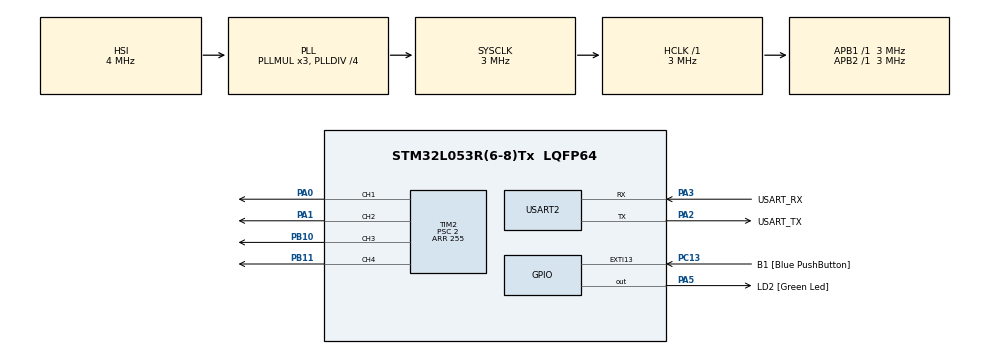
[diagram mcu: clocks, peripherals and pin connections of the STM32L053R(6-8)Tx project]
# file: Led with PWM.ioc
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Mcu.Family=STM32L0
Mcu.Name=STM32L053R(6-8)Tx
Mcu.Package=LQFP64
PA0.Signal=S_TIM2_CH1
PA1.Signal=S_TIM2_CH2
PA13.GPIO_Label=TMS
PA13.Mode=Serial_Wire
PA13.Signal=SYS_SWDIO
PA14.GPIO_Label=TCK
PA14.Mode=Serial_Wire
PA14.Signal=SYS_SWCLK
PA2.GPIO_Label=USART_TX
PA2.Mode=Asynchronous
PA2.Signal=USART2_TX
PA3.GPIO_Label=USART_RX
PA3.Mode=Asynchronous
PA3.Signal=USART2_RX
PA5.GPIO_Label=LD2 [Green Led]
PA5.Signal=GPIO_Output
PB10.Signal=S_TIM2_CH3
PB11.Signal=S_TIM2_CH4
PC13.GPIO_Label=B1 [Blue PushButton]
PC13.GPIO_ModeDefaultEXTI=GPIO_MODE_IT_FALLING
PC13.Signal=GPXTI13
PC14-OSC32_IN.Mode=LSE-External-Oscillator
PC14-OSC32_IN.Signal=RCC_OSC32_IN
PC15-OSC32_OUT.Mode=LSE-External-Oscillator
PC15-OSC32_OUT.Signal=RCC_OSC32_OUT
PH0-OSC_IN.Mode=HSE-External-Clock-Source
PH0-OSC_IN.Signal=RCC_OSC_IN
PH1-OSC_OUT.Signal=RCC_OSC_OUT
ProjectManager.HeapSize=0x200
ProjectManager.StackSize=0x400
ProjectManager.TargetToolchain=MDK-ARM V5.27
RCC.ADCFreq_Value=4000000
RCC.AHBFreq_Value=3000000
RCC.APB1Freq_Value=3000000
RCC.APB1TimFreq_Value=3000000
RCC.APB2Freq_Value=3000000
RCC.APB2TimFreq_Value=3000000
RCC.HCLKFreq_Value=3000000
RCC.HSE_VALUE=8000000
RCC.HSI16_VALUE=16000000
RCC.HSI48_VALUE=48000000
RCC.HSIRCDiv=4
RCC.HSI_VALUE=4000000
RCC.MSI_VALUE=2097000
RCC.PLLDIV=RCC_PLLDIV_4
RCC.SYSCLKFreq_VALUE=3000000
RCC.SYSCLKSource=RCC_SYSCLKSOURCE_PLLCLK
RCC.VCOOutputFreq_Value=12000000
SH.S_TIM2_CH1.0=TIM2_CH1,PWM Generation1 CH1
SH.S_TIM2_CH2.0=TIM2_CH2,PWM Generation2 CH2
SH.S_TIM2_CH3.0=TIM2_CH3,PWM Generation3 CH3
SH.S_TIM2_CH4.0=TIM2_CH4,PWM Generation4 CH4
TIM2.AutoReloadPreload=TIM_AUTORELOAD_PRELOAD_ENABLE
TIM2.Channel-PWM\ Generation1\ CH1=TIM_CHANNEL_1
TIM2.Channel-PWM\ Generation2\ CH2=TIM_CHANNEL_2
TIM2.Channel-PWM\ Generation3\ CH3=TIM_CHANNEL_3
TIM2.Channel-PWM\ Generation4\ CH4=TIM_CHANNEL_4
TIM2.CounterMode=TIM_COUNTERMODE_UP
TIM2.OCMode_PWM-PWM\ Generation1\ CH1=TIM_OCMODE_PWM1
TIM2.OCPolarity_1=TIM_OCPOLARITY_HIGH
TIM2.Period=255
TIM2.Prescaler=2
TIM2.Pulse-PWM\ Generation1\ CH1=19
USART2.VirtualMode-Asynchronous=VM_ASYNC
VP_TIM2_VS_ClockSourceINT.Mode=Internal
board=NUCLEO-L053R8

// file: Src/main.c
/* USER CODE BEGIN Header */
/**
  ******************************************************************************
  * @file           : main.c
  * @brief          : Main program body
  ******************************************************************************
  * @attention
  *
  * <h2><center>&copy; Copyright (c) 2021 STMicroelectronics.
  * All rights reserved.</center></h2>
  *
  * This software component is licensed by ST under BSD 3-Clause license,
  * the "License"; You may not use this file except in compliance with the
  * License. You may obtain a copy of the License at:
  *                        opensource.org/licenses/BSD-3-Clause
  *
  ******************************************************************************
  */
/* USER CODE END Header */

#include "main.h"
#include "tim.h"
#include "usart.h"
#include "gpio.h"

/* USER CODE BEGIN PD */
#define IR 0
#define DR 1
#define IG 2
#define DG 3
#define IB 4
#define DB 5
/* USER CODE END PD */

/* USER CODE BEGIN PV */
typedef struct {
	uint8_t counterMode: 2;
}BitField;

BitField counter;
uint8_t statusRGB;

// uint8_t redCode = 0;
// uint8_t greenCode = 0;
// uint8_t blueCode = 0;
/* USER CODE END PV */

void SystemClock_Config(void);

int main(void)
{

  /* MCU Configuration--------------------------------------------------------*/

  /* Reset of all peripherals, Initializes the Flash interface and the Systick. */
  HAL_Init();

  /* Configure the system clock */
  SystemClock_Config();

  /* Initialize all configured peripherals */
  MX_GPIO_Init();
  MX_TIM2_Init();
  MX_USART2_UART_Init();
  /* USER CODE BEGIN 2 */
	HAL_TIM_PWM_Start(&htim2, TIM_CHANNEL_1);
	HAL_TIM_PWM_Start(&htim2, TIM_CHANNEL_2);
	HAL_TIM_PWM_Start(&htim2, TIM_CHANNEL_3);
	HAL_TIM_PWM_Start(&htim2, TIM_CHANNEL_4);

	TIM2 -> CCR1 = 0;
	counter.counterMode = 1;

	TIM2 -> CCR2 = 255;
	TIM2 -> CCR3 = 0;
	TIM2 -> CCR4 = 0;
	statusRGB = IG;
  /* USER CODE END 2 */

  /* Infinite loop */
  while (1)
  {

    /* USER CODE BEGIN 3 */
		HAL_Delay(2);
		if (counter.counterMode == 1) {
				TIM2 -> CCR1 += 1;
		} else {
			TIM2 -> CCR1 -= 1;
		}

		if(TIM2 -> CCR1 == 0) {
			counter.counterMode = 1;
		}
		if (TIM2 -> CCR1 > 255) {
			counter.counterMode = 0;
		}

		switch(statusRGB) {
			case IR:
				TIM2 -> CCR2 ++;
				break;
			case DR:
				TIM2 -> CCR2 --;
				break;
			case IG:
				TIM2 -> CCR3 ++;
				break;
			case DG:
				TIM2 -> CCR3 --;
				break;
			case IB:
				TIM2 -> CCR4 ++;
				break;
			case DB:
				TIM2 -> CCR4 --;
				break;
		}

		if(TIM2 -> CCR3 == 255 && statusRGB == IG) {
			statusRGB = DR;
		} else if(TIM2 -> CCR2 == 0 && statusRGB == DR) {
			statusRGB = IB;
		} else if(TIM2 -> CCR4 == 255 && statusRGB == IB) {
			statusRGB = DG;
		} else if(TIM2 -> CCR3 == 0 && statusRGB == DG) {
			statusRGB = IR;
		} else if(TIM2 -> CCR2 == 255 && statusRGB == IR) {
			statusRGB = DB;
		} else if(TIM2 -> CCR4 == 0 && statusRGB == DB) {
			statusRGB = IG;
		}

  }
  /* USER CODE END 3 */
}

void SystemClock_Config(void)
{
  RCC_OscInitTypeDef RCC_OscInitStruct = {0};
  RCC_ClkInitTypeDef RCC_ClkInitStruct = {0};
  RCC_PeriphCLKInitTypeDef PeriphClkInit = {0};

  /** Configure the main internal regulator output voltage
  */
  __HAL_PWR_VOLTAGESCALING_CONFIG(PWR_REGULATOR_VOLTAGE_SCALE1);
  /** Initializes the CPU, AHB and APB busses clocks
  */
  RCC_OscInitStruct.OscillatorType = RCC_OSCILLATORTYPE_HSI;
  RCC_OscInitStruct.HSIState = RCC_HSI_DIV4;
  RCC_OscInitStruct.HSICalibrationValue = RCC_HSICALIBRATION_DEFAULT;
  RCC_OscInitStruct.PLL.PLLState = RCC_PLL_ON;
  RCC_OscInitStruct.PLL.PLLSource = RCC_PLLSOURCE_HSI;
  RCC_OscInitStruct.PLL.PLLMUL = RCC_PLLMUL_3;
  RCC_OscInitStruct.PLL.PLLDIV = RCC_PLLDIV_4;
  if (HAL_RCC_OscConfig(&RCC_OscInitStruct) != HAL_OK)
  {
    Error_Handler();
  }
  /** Initializes the CPU, AHB and APB busses clocks
  */
  RCC_ClkInitStruct.ClockType = RCC_CLOCKTYPE_HCLK|RCC_CLOCKTYPE_SYSCLK
                              |RCC_CLOCKTYPE_PCLK1|RCC_CLOCKTYPE_PCLK2;
  RCC_ClkInitStruct.SYSCLKSource = RCC_SYSCLKSOURCE_PLLCLK;
  RCC_ClkInitStruct.AHBCLKDivider = RCC_SYSCLK_DIV1;
  RCC_ClkInitStruct.APB1CLKDivider = RCC_HCLK_DIV1;
  RCC_ClkInitStruct.APB2CLKDivider = RCC_HCLK_DIV1;

  if (HAL_RCC_ClockConfig(&RCC_ClkInitStruct, FLASH_LATENCY_0) != HAL_OK)
  {
    Error_Handler();
  }
  PeriphClkInit.PeriphClockSelection = RCC_PERIPHCLK_USART2;
  PeriphClkInit.Usart2ClockSelection = RCC_USART2CLKSOURCE_PCLK1;
  if (HAL_RCCEx_PeriphCLKConfig(&PeriphClkInit) != HAL_OK)
  {
    Error_Handler();
  }
}

void Error_Handler(void)
{
}

/************************ (C) COPYRIGHT STMicroelectronics *****END OF FILE****/
